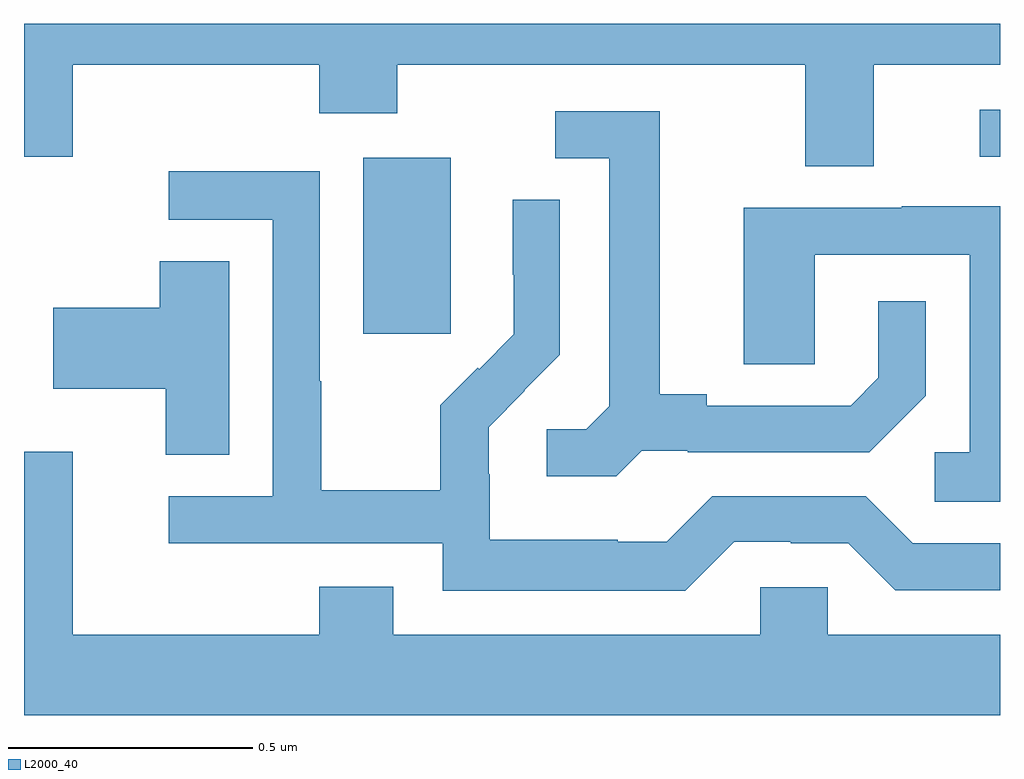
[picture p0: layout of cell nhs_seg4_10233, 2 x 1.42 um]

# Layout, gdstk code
import gdstk
lib = gdstk.Library(unit=1e-6, precision=1e-09)
def R(c, l, rs):  # rectangles x0, y0, x1, y1
    for r in rs: c.add(gdstk.rectangle(r[:2], r[2:], *l))
def P(c, l, *ps):  # polygons
    for p in ps: c.add(gdstk.Polygon(p, *l))
L2000_40 = (2000, 40)

nhs_seg4_10233 = lib.new_cell('nhs_seg4_10233')
R(nhs_seg4_10233, L2000_40, [(237.695,800.265,237.874,800.626), (238.959,800.628,239,800.724)])
P(nhs_seg4_10233, L2000_40, [(237,800.628),(237.1,800.628),(237.1,800.816),(237.605,800.816),(237.605,800.717),(237.765,800.717),(237.765,800.816),(238.601,800.816),(238.601,800.608),(238.741,800.608),(238.741,800.816),(239,800.816),(239,800.9),(237,800.9)],
  [(238.266,800.025),(238.36,800.025),(238.36,800.022),(238.732,800.022),(238.848,800.138),(238.848,800.332),(238.751,800.332),(238.751,800.175),(238.694,800.118),(238.399,800.118),(238.399,800.141),(238.303,800.141),(238.303,800.721),(238.089,800.721),(238.089,800.625),(238.199,800.625),(238.199,800.117),(238.152,800.07),(238.071,800.07),(238.071,799.973),(238.214,799.973)],
  [(238.455,799.839),(238.571,799.839),(238.571,799.836),(238.689,799.836),(238.785,799.74),(239,799.74),(239,799.836),(238.821,799.836),(238.725,799.932),(238.41,799.932),(238.317,799.839),(238.217,799.839),(238.217,799.843),(237.954,799.843),(237.954,799.977),(237.952,799.977),(237.952,800.074),(238.026,800.148),(238.025,800.149),(238.098,800.222),(238.098,800.54),(238.002,800.54),(238.002,800.386),(238.004,800.386),(238.004,800.264),(237.933,800.193),(237.93,800.196),(237.853,800.119),(237.853,799.945),(237.609,799.945),(237.609,800.168),(237.606,800.168),(237.606,800.598),(237.297,800.598),(237.297,800.499),(237.51,800.499),(237.51,799.932),(237.297,799.932),(237.297,799.836),(237.858,799.836),(237.858,799.739),(238.355,799.739)],
  [(239,800.527),(238.799,800.527),(238.799,800.523),(238.475,800.523),(238.475,800.203),(238.62,800.203),(238.62,800.427),(238.938,800.427),(238.938,800.022),(238.866,800.022),(238.866,799.921),(239,799.921)],
  [(237.421,800.414),(237.278,800.414),(237.278,800.319),(237.06,800.319),(237.06,800.153),(237.29,800.153),(237.29,800.017),(237.421,800.017)],
  [(239,799.648),(238.647,799.648),(238.647,799.746),(238.509,799.746),(238.509,799.648),(237.757,799.648),(237.757,799.747),(237.605,799.747),(237.605,799.648),(237.1,799.648),(237.1,800.023),(237,800.023),(237,799.484),(239,799.484)])

lib.write_gds('nhs_seg4_10233.gds')
